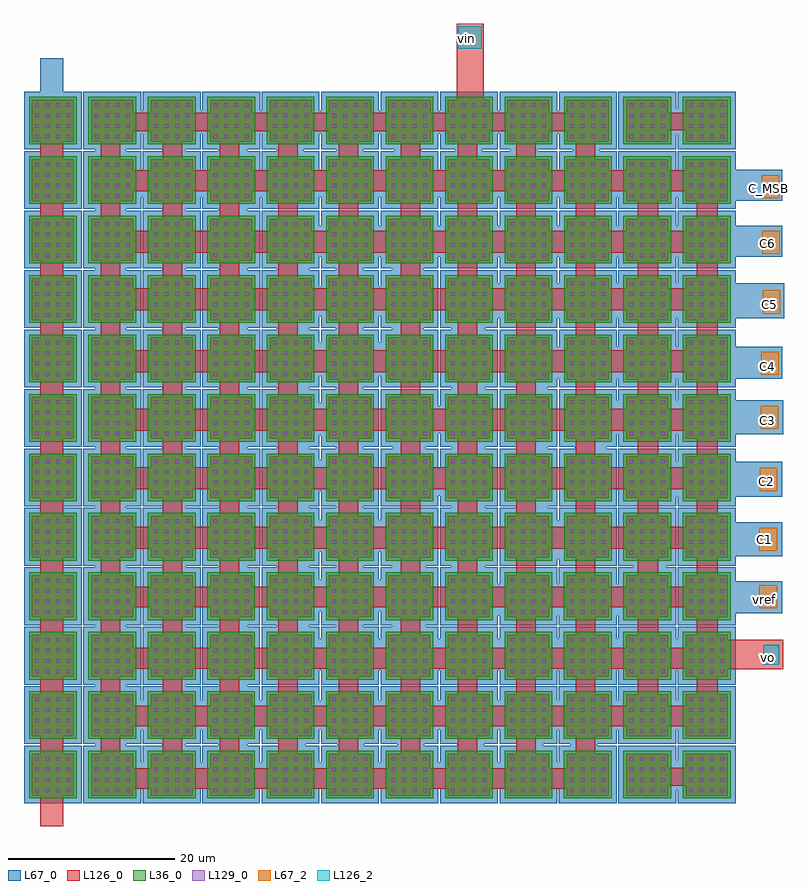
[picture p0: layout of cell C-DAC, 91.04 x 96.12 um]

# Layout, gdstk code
import gdstk
lib = gdstk.Library(unit=1e-6, precision=1e-09)
def R(c, l, rs):  # rectangles x0, y0, x1, y1
    for r in rs: c.add(gdstk.rectangle(r[:2], r[2:], *l))
def A(c, l, x, y, w, h, nx, ny, dx, dy):  # array of equal rectangles
    R(c, l, [(x+i*dx, y+j*dy, x+i*dx+w, y+j*dy+h) for i in range(nx) for j in range(ny)])
L36_0 = (36, 0)
L67_0 = (67, 0)
L67_2 = (67, 2)
L126_0 = (126, 0)
L126_2 = (126, 2)
L129_0 = (129, 0)

cmim_2 = lib.new_cell('cmim$2')
R(cmim_2, L36_0, [(0,0,5.71,5.71)])
R(cmim_2, L67_0, [(-0.6,-0.6,6.31,6.31)])
R(cmim_2, L126_0, [(0.33,0.33,5.37,5.37)])
A(cmim_2, L129_0, 0.75, 0.75, 0.42, 0.42, 4, 4, 1.26, 1.26)

cmim_1 = lib.new_cell('cmim$1')
R(cmim_1, L36_0, [(0,0,5.71,5.71)])
R(cmim_1, L67_0, [(-0.6,-0.6,6.31,6.31)])
R(cmim_1, L126_0, [(0.33,0.33,5.37,5.37)])
A(cmim_1, L129_0, 0.75, 0.75, 0.42, 0.42, 4, 4, 1.26, 1.26)

c_dac = lib.new_cell('C-DAC')
R(c_dac, L67_0, [(1,-78.005,3.79,11), (71.415,-76.695,82.31,-73.065), (7.485,-76.475,67.675,-73.285), (64.49,-76.42,67.735,-66.115), (29.565,-76.29,32.81,-65.985), (36.605,-76.29,39.85,-65.985), (43.765,-76.25,47.01,-65.945), (50.97,-76.25,54.215,-65.945), (58.055,-76.25,61.3,-65.945), (7.595,-76.145,11.335,4.73), (15.625,-76.145,18.485,4.62), (22.34,-75.815,25.86,4.73), (7.485,-69.435,82.31,-65.91), (36.42,-62.83,39.725,-9.025), (29.38,-62.72,33.23,-9.025), (43.135,-62.5,47.205,-44.565), (29.6,-62.28,82.2,-58.54), (50.285,-55.79,75.705,-51.94), (72.075,-55.68,76.035,-44.785), (50.285,-55.57,54.36,-16.065), (78.785,-55.46,89.9,-51.605), (29.38,-55.24,47.535,-51.385), (57.99,-48.965,61.84,-23.55), (58.1,-48.965,68.555,-44.345), (78.785,-48.635,89.9,-44.565), (29.27,-48.085,47.315,-44.235), (65.03,-41.485,68.885,-30.15), (72.075,-41.485,89.9,-37.305), (43.135,-41.375,53.48,-38.075), (43.245,-41.045,47.205,-30.37), (29.27,-40.825,39.835,-37.085), (29.27,-34.22,39.945,-30.26), (65.03,-34,90.01,-29.93), (43.465,-33.89,53.15,-30.59), (57.88,-27.4,89.9,-23.55), (29.38,-27.07,47.205,-23), (43.135,-26.52,46.985,-9.135), (50.175,-20.135,90.12,-15.955), (29.38,-19.915,47.205,-16.285), (29.6,-12.765,82.09,-9.025), (78.895,-12.765,89.9,-9.025), (78.785,-6.05,89.9,-2.31), (64.83,-5.64,68.075,4.665), (7.485,-5.61,82.97,-2.31), (29.37,-5.6,32.615,4.705), (36.47,-5.6,39.715,4.705), (50.755,-5.59,54,4.715), (57.355,-5.59,60.6,4.715), (43.44,-5.545,46.685,4.76), (71.635,1.87,82.2,5.06), (7.705,1.98,68.115,4.73)])
R(c_dac, L67_2, [(87.185,-54.885,89.285,-52.12), (87.185,-47.965,89.285,-45.2), (87.235,-40.825,89.335,-38.06), (87.34,-33.385,89.44,-30.62), (87.375,-26.91,89.475,-24.145), (87.6,-19.565,89.7,-16.8), (87.495,-12.405,89.595,-9.64), (87.46,-5.75,89.56,-2.985)])
R(c_dac, L126_0, [(1.02,-80.975,3.76,5.8), (29.545,-77.175,31.88,4.53), (22.52,-77.075,24.855,4.63), (36.77,-76.78,39.105,4.925), (15.69,-76.58,18.025,5.125), (44.19,-76.58,46.525,5.125), (7.745,-76.48,68.38,-74.015), (51.02,-76.48,53.355,5.225), (58.045,-76.38,60.38,5.325), (65.17,-76.38,67.505,5.325), (8.27,-76.285,10.605,5.42), (72.295,-76.145,82.31,-73.945), (72.625,-69.325,75.045,-1.87), (79.665,-69.215,82.2,-1.98), (8.08,-69.025,81.75,-66.55), (79.115,-62.17,90.01,-58.65), (8.3,-62.095,81.97,-59.62), (9.1,-54.755,81.65,-52.28), (9.26,-47.73,81.33,-45.095), (9.55,-40.595,81.62,-37.96), (9.225,-33.6,81.295,-30.965), (8.915,-26.575,80.985,-23.94), (8.645,-19.175,80.715,-16.54), (9.16,-12.25,81.23,-9.615), (7.94,-4.89,81.61,-2.415), (7.94,-4.89,81.61,-2.415), (7.66,2.29,68.4,4.49), (71.965,2.42,81.98,4.51), (50.905,2.45,54.135,15.15)])
R(c_dac, L126_2, [(87.64,-61.645,89.53,-59.23), (51.09,12.165,53.94,14.83)])
c_dac.add(gdstk.Reference(cmim_2, (49.525,0.69)))
c_dac.add(gdstk.Reference(cmim_1, (42.405,0.69)))
c_dac.add(gdstk.Reference(cmim_2, (78.01,0.69)))
c_dac.add(gdstk.Reference(cmim_1, (70.89,0.69)))
c_dac.add(gdstk.Reference(cmim_1, (63.77,0.69)))
c_dac.add(gdstk.Reference(cmim_1, (56.65,0.69)))
c_dac.add(gdstk.Reference(cmim_2, (49.525,-6.43)))
c_dac.add(gdstk.Reference(cmim_1, (42.405,-6.43)))
c_dac.add(gdstk.Reference(cmim_2, (78.01,-6.43)))
c_dac.add(gdstk.Reference(cmim_1, (70.89,-6.43)))
c_dac.add(gdstk.Reference(cmim_1, (63.77,-6.43)))
c_dac.add(gdstk.Reference(cmim_1, (56.65,-6.43)))
c_dac.add(gdstk.Reference(cmim_2, (49.525,-13.555)))
c_dac.add(gdstk.Reference(cmim_1, (42.405,-13.555)))
c_dac.add(gdstk.Reference(cmim_2, (78.01,-13.555)))
c_dac.add(gdstk.Reference(cmim_1, (70.89,-13.555)))
c_dac.add(gdstk.Reference(cmim_1, (63.77,-13.555)))
c_dac.add(gdstk.Reference(cmim_1, (56.65,-13.555)))
c_dac.add(gdstk.Reference(cmim_2, (49.525,-20.675)))
c_dac.add(gdstk.Reference(cmim_1, (42.405,-20.675)))
c_dac.add(gdstk.Reference(cmim_2, (78.01,-20.675)))
c_dac.add(gdstk.Reference(cmim_1, (70.89,-20.675)))
c_dac.add(gdstk.Reference(cmim_1, (63.77,-20.675)))
c_dac.add(gdstk.Reference(cmim_1, (56.65,-20.675)))
c_dac.add(gdstk.Reference(cmim_2, (49.525,-27.795)))
c_dac.add(gdstk.Reference(cmim_1, (42.405,-27.795)))
c_dac.add(gdstk.Reference(cmim_2, (78.01,-27.795)))
c_dac.add(gdstk.Reference(cmim_1, (70.89,-27.795)))
c_dac.add(gdstk.Reference(cmim_1, (63.77,-27.795)))
c_dac.add(gdstk.Reference(cmim_1, (56.65,-27.795)))
c_dac.add(gdstk.Reference(cmim_2, (49.525,-34.915)))
c_dac.add(gdstk.Reference(cmim_1, (42.405,-34.915)))
c_dac.add(gdstk.Reference(cmim_2, (78.01,-34.915)))
c_dac.add(gdstk.Reference(cmim_1, (70.89,-34.915)))
c_dac.add(gdstk.Reference(cmim_1, (63.77,-34.915)))
c_dac.add(gdstk.Reference(cmim_1, (56.65,-34.915)))
c_dac.add(gdstk.Reference(cmim_2, (21.045,-20.675)))
c_dac.add(gdstk.Reference(cmim_1, (13.925,-20.675)))
c_dac.add(gdstk.Reference(cmim_1, (6.805,-20.675)))
c_dac.add(gdstk.Reference(cmim_1, (-0.315,-20.675)))
c_dac.add(gdstk.Reference(cmim_1, (35.285,-6.43)))
c_dac.add(gdstk.Reference(cmim_1, (28.165,-6.43)))
c_dac.add(gdstk.Reference(cmim_1, (35.285,-20.675)))
c_dac.add(gdstk.Reference(cmim_1, (28.165,-20.675)))
c_dac.add(gdstk.Reference(cmim_1, (6.805,0.69)))
c_dac.add(gdstk.Reference(cmim_1, (-0.315,0.69)))
c_dac.add(gdstk.Reference(cmim_2, (21.045,0.69)))
c_dac.add(gdstk.Reference(cmim_1, (13.925,0.69)))
c_dac.add(gdstk.Reference(cmim_2, (21.045,-27.795)))
c_dac.add(gdstk.Reference(cmim_1, (13.925,-27.795)))
c_dac.add(gdstk.Reference(cmim_1, (6.805,-27.795)))
c_dac.add(gdstk.Reference(cmim_1, (-0.315,-27.795)))
c_dac.add(gdstk.Reference(cmim_2, (21.045,-13.555)))
c_dac.add(gdstk.Reference(cmim_1, (13.925,-13.555)))
c_dac.add(gdstk.Reference(cmim_1, (35.285,-27.795)))
c_dac.add(gdstk.Reference(cmim_1, (28.165,-27.795)))
c_dac.add(gdstk.Reference(cmim_1, (6.805,-13.555)))
c_dac.add(gdstk.Reference(cmim_1, (-0.315,-13.555)))
c_dac.add(gdstk.Reference(cmim_2, (21.045,-6.43)))
c_dac.add(gdstk.Reference(cmim_1, (13.925,-6.43)))
c_dac.add(gdstk.Reference(cmim_2, (21.045,-34.915)))
c_dac.add(gdstk.Reference(cmim_1, (13.925,-34.915)))
c_dac.add(gdstk.Reference(cmim_1, (6.805,-34.915)))
c_dac.add(gdstk.Reference(cmim_1, (-0.315,-34.915)))
c_dac.add(gdstk.Reference(cmim_1, (35.285,-13.555)))
c_dac.add(gdstk.Reference(cmim_1, (28.165,-13.555)))
c_dac.add(gdstk.Reference(cmim_1, (35.285,-34.915)))
c_dac.add(gdstk.Reference(cmim_1, (28.165,-34.915)))
c_dac.add(gdstk.Reference(cmim_1, (6.805,-6.43)))
c_dac.add(gdstk.Reference(cmim_1, (-0.315,-6.43)))
c_dac.add(gdstk.Reference(cmim_1, (35.285,0.69)))
c_dac.add(gdstk.Reference(cmim_1, (28.165,0.69)))
c_dac.add(gdstk.Reference(cmim_2, (21.045,-42.04)))
c_dac.add(gdstk.Reference(cmim_1, (13.925,-42.04)))
c_dac.add(gdstk.Reference(cmim_1, (6.805,-42.04)))
c_dac.add(gdstk.Reference(cmim_1, (-0.315,-42.04)))
c_dac.add(gdstk.Reference(cmim_1, (35.285,-42.04)))
c_dac.add(gdstk.Reference(cmim_1, (28.165,-42.04)))
c_dac.add(gdstk.Reference(cmim_2, (21.045,-49.16)))
c_dac.add(gdstk.Reference(cmim_1, (13.925,-49.16)))
c_dac.add(gdstk.Reference(cmim_1, (6.805,-49.16)))
c_dac.add(gdstk.Reference(cmim_1, (-0.315,-49.16)))
c_dac.add(gdstk.Reference(cmim_1, (35.285,-49.16)))
c_dac.add(gdstk.Reference(cmim_1, (28.165,-49.16)))
c_dac.add(gdstk.Reference(cmim_2, (21.04,-56.28)))
c_dac.add(gdstk.Reference(cmim_1, (13.92,-56.28)))
c_dac.add(gdstk.Reference(cmim_1, (6.8,-56.28)))
c_dac.add(gdstk.Reference(cmim_1, (-0.32,-56.28)))
c_dac.add(gdstk.Reference(cmim_1, (35.28,-56.28)))
c_dac.add(gdstk.Reference(cmim_1, (28.16,-56.28)))
c_dac.add(gdstk.Reference(cmim_2, (21.04,-63.4)))
c_dac.add(gdstk.Reference(cmim_1, (13.92,-63.4)))
c_dac.add(gdstk.Reference(cmim_1, (6.8,-63.4)))
c_dac.add(gdstk.Reference(cmim_1, (-0.32,-63.4)))
c_dac.add(gdstk.Reference(cmim_1, (35.28,-63.4)))
c_dac.add(gdstk.Reference(cmim_1, (28.16,-63.4)))
c_dac.add(gdstk.Reference(cmim_2, (21.04,-70.525)))
c_dac.add(gdstk.Reference(cmim_1, (13.92,-70.525)))
c_dac.add(gdstk.Reference(cmim_1, (6.8,-70.525)))
c_dac.add(gdstk.Reference(cmim_1, (-0.32,-70.525)))
c_dac.add(gdstk.Reference(cmim_1, (35.28,-70.525)))
c_dac.add(gdstk.Reference(cmim_1, (28.16,-70.525)))
c_dac.add(gdstk.Reference(cmim_2, (21.04,-77.645)))
c_dac.add(gdstk.Reference(cmim_1, (13.92,-77.645)))
c_dac.add(gdstk.Reference(cmim_1, (6.8,-77.645)))
c_dac.add(gdstk.Reference(cmim_1, (-0.32,-77.645)))
c_dac.add(gdstk.Reference(cmim_1, (35.28,-77.645)))
c_dac.add(gdstk.Reference(cmim_1, (28.16,-77.645)))
c_dac.add(gdstk.Reference(cmim_1, (63.77,-42.04)))
c_dac.add(gdstk.Reference(cmim_1, (56.65,-42.04)))
c_dac.add(gdstk.Reference(cmim_2, (78.01,-49.16)))
c_dac.add(gdstk.Reference(cmim_1, (70.89,-49.16)))
c_dac.add(gdstk.Reference(cmim_2, (49.52,-63.4)))
c_dac.add(gdstk.Reference(cmim_1, (42.4,-63.4)))
c_dac.add(gdstk.Reference(cmim_1, (63.77,-49.16)))
c_dac.add(gdstk.Reference(cmim_1, (56.65,-49.16)))
c_dac.add(gdstk.Reference(cmim_2, (78.005,-63.4)))
c_dac.add(gdstk.Reference(cmim_1, (70.885,-63.4)))
c_dac.add(gdstk.Reference(cmim_1, (63.765,-63.4)))
c_dac.add(gdstk.Reference(cmim_1, (56.645,-63.4)))
c_dac.add(gdstk.Reference(cmim_2, (49.525,-42.04)))
c_dac.add(gdstk.Reference(cmim_1, (42.405,-42.04)))
c_dac.add(gdstk.Reference(cmim_2, (78.01,-42.04)))
c_dac.add(gdstk.Reference(cmim_1, (70.89,-42.04)))
c_dac.add(gdstk.Reference(cmim_2, (49.52,-70.525)))
c_dac.add(gdstk.Reference(cmim_1, (42.4,-70.525)))
c_dac.add(gdstk.Reference(cmim_2, (49.52,-56.28)))
c_dac.add(gdstk.Reference(cmim_1, (42.4,-56.28)))
c_dac.add(gdstk.Reference(cmim_2, (78.005,-70.525)))
c_dac.add(gdstk.Reference(cmim_1, (70.885,-70.525)))
c_dac.add(gdstk.Reference(cmim_1, (63.765,-70.525)))
c_dac.add(gdstk.Reference(cmim_1, (56.645,-70.525)))
c_dac.add(gdstk.Reference(cmim_2, (49.525,-49.16)))
c_dac.add(gdstk.Reference(cmim_1, (42.405,-49.16)))
c_dac.add(gdstk.Reference(cmim_2, (78.005,-56.28)))
c_dac.add(gdstk.Reference(cmim_1, (70.885,-56.28)))
c_dac.add(gdstk.Reference(cmim_2, (49.52,-77.645)))
c_dac.add(gdstk.Reference(cmim_1, (42.4,-77.645)))
c_dac.add(gdstk.Reference(cmim_1, (63.765,-56.28)))
c_dac.add(gdstk.Reference(cmim_1, (56.645,-56.28)))
c_dac.add(gdstk.Reference(cmim_2, (78.005,-77.645)))
c_dac.add(gdstk.Reference(cmim_1, (70.885,-77.645)))
c_dac.add(gdstk.Reference(cmim_1, (63.765,-77.645)))
c_dac.add(gdstk.Reference(cmim_1, (56.645,-77.645)))
c_dac.add(gdstk.Label('C_MSB', (88.23,-4.56), layer=67, texttype=25))
c_dac.add(gdstk.Label('C6', (88.125,-11.21), layer=67, texttype=25))
c_dac.add(gdstk.Label('C5', (88.335,-18.495), layer=67, texttype=25))
c_dac.add(gdstk.Label('C4', (88.125,-25.935), layer=67, texttype=25))
c_dac.add(gdstk.Label('C3', (88.125,-32.43), layer=67, texttype=25))
c_dac.add(gdstk.Label('C2', (88.02,-39.66), layer=67, texttype=25))
c_dac.add(gdstk.Label('C1', (87.81,-46.68), layer=67, texttype=25))
c_dac.add(gdstk.Label('vref', (87.76,-53.81), layer=67, texttype=25))
c_dac.add(gdstk.Label('vin', (52.09,13.4), layer=126, texttype=25))
c_dac.add(gdstk.Label('vo', (88.125,-60.775), layer=126, texttype=25))

lib.write_gds('C-DAC.gds')
